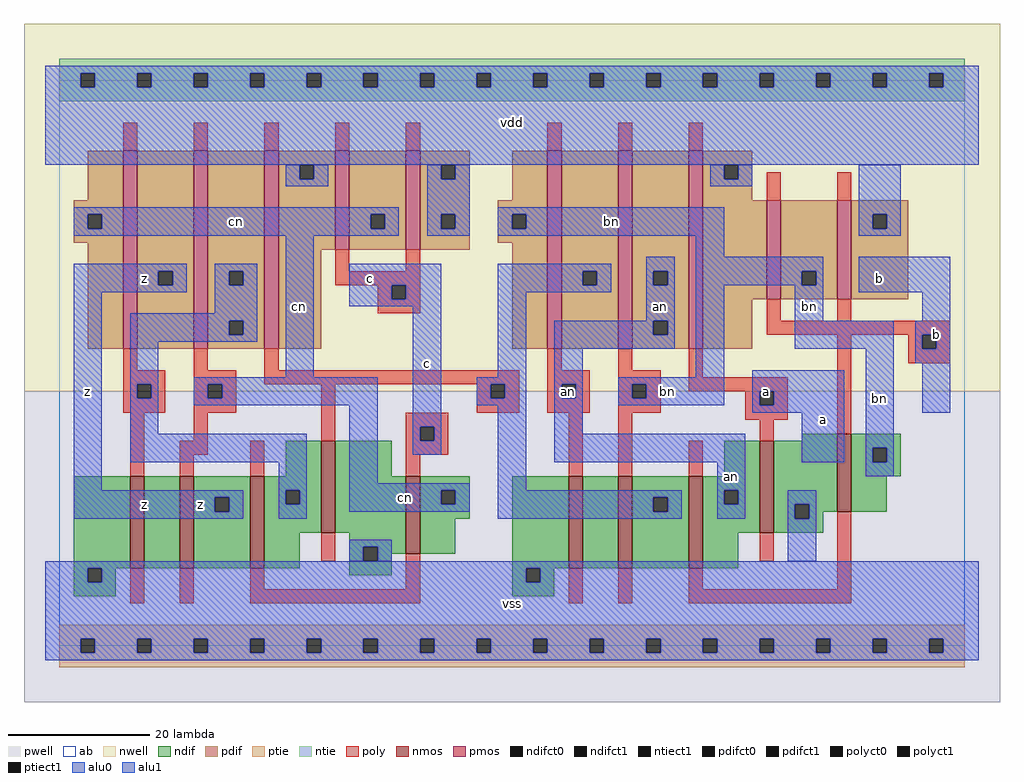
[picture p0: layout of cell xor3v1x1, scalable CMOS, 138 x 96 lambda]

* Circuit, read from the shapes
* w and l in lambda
.subckt xor3v1x1 a an b bn c cn vdd vss z
M1 n1 n2 vss vss nfet w=13 l=2
M2 z cn n1 vss nfet w=13 l=2
M3 n2 c z vss nfet w=13 l=2
M4 vss n3 n2 vss nfet w=13 l=2
M5 cn c vss vss nfet w=11 l=2
M6 n4 an vss vss nfet w=13 l=2
M7 n3 bn n4 vss nfet w=13 l=2
M8 an b n3 vss nfet w=13 l=2
M9 vss a an vss nfet w=13 l=2
M10 bn b vss vss nfet w=11 l=2
M11 z n2 cn vdd pfet w=28 l=2
M12 n2 cn z vdd pfet w=28 l=2
M13 vdd n3 n2 vdd pfet w=28 l=2
M14 cn c vdd vdd pfet w=14 l=2 m=2
M15 n3 an bn vdd pfet w=28 l=2
M16 an bn n3 vdd pfet w=28 l=2
M17 vdd a an vdd pfet w=28 l=2
M18 bn b vdd vdd pfet w=14 l=2 m=2
.ends

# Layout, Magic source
magic
tech scmos
<< ab >>
rect 0 0 128 80
<< nwell >>
rect -5 36 133 88
<< pwell >>
rect -5 -8 133 36
<< poly >>
rect 9 70 11 74
rect 19 70 21 74
rect 29 70 31 74
rect 39 70 41 74
rect 49 70 51 74
rect 69 70 71 74
rect 79 70 81 74
rect 89 70 91 74
rect 39 53 41 56
rect 49 53 51 56
rect 39 51 51 53
rect 45 49 47 51
rect 49 49 51 51
rect 45 47 51 49
rect 100 63 102 67
rect 110 63 112 67
rect 100 46 102 49
rect 110 46 112 49
rect 100 44 126 46
rect 9 39 11 42
rect 19 39 21 42
rect 29 39 31 42
rect 69 39 71 42
rect 79 39 81 42
rect 9 37 15 39
rect 9 35 11 37
rect 13 35 15 37
rect 9 33 15 35
rect 19 37 25 39
rect 29 37 65 39
rect 19 35 21 37
rect 23 35 25 37
rect 19 33 25 35
rect 10 24 12 33
rect 19 29 21 33
rect 37 29 39 37
rect 59 35 61 37
rect 63 35 65 37
rect 59 33 65 35
rect 69 37 75 39
rect 69 35 71 37
rect 73 35 75 37
rect 69 33 75 35
rect 79 37 85 39
rect 79 35 81 37
rect 83 35 85 37
rect 89 38 91 42
rect 89 36 103 38
rect 79 33 85 35
rect 97 34 99 36
rect 101 34 103 36
rect 49 31 55 33
rect 49 29 51 31
rect 53 29 55 31
rect 17 27 21 29
rect 17 24 19 27
rect 27 24 29 29
rect 49 27 55 29
rect 49 24 51 27
rect 72 24 74 33
rect 79 24 81 33
rect 97 32 103 34
rect 99 29 101 32
rect 110 30 112 44
rect 120 42 122 44
rect 124 42 126 44
rect 120 40 126 42
rect 89 24 91 29
rect 37 12 39 16
rect 10 6 12 11
rect 17 6 19 11
rect 27 8 29 11
rect 49 8 51 13
rect 27 6 51 8
rect 99 12 101 16
rect 72 6 74 11
rect 79 6 81 11
rect 89 8 91 11
rect 110 8 112 19
rect 89 6 112 8
<< ndif >>
rect 32 24 37 29
rect 2 11 10 24
rect 12 11 17 24
rect 19 21 27 24
rect 19 19 22 21
rect 24 19 27 21
rect 19 11 27 19
rect 29 22 37 24
rect 29 20 32 22
rect 34 20 37 22
rect 29 16 37 20
rect 39 24 47 29
rect 105 29 110 30
rect 94 24 99 29
rect 39 16 49 24
rect 29 11 34 16
rect 41 14 49 16
rect 41 12 43 14
rect 45 13 49 14
rect 51 22 58 24
rect 51 20 54 22
rect 56 20 58 22
rect 51 18 58 20
rect 51 13 56 18
rect 45 12 47 13
rect 2 9 4 11
rect 6 9 8 11
rect 2 7 8 9
rect 41 10 47 12
rect 64 11 72 24
rect 74 11 79 24
rect 81 21 89 24
rect 81 19 84 21
rect 86 19 89 21
rect 81 11 89 19
rect 91 22 99 24
rect 91 20 94 22
rect 96 20 99 22
rect 91 16 99 20
rect 101 20 110 29
rect 101 18 104 20
rect 106 19 110 20
rect 112 28 119 30
rect 112 26 115 28
rect 117 26 119 28
rect 112 24 119 26
rect 112 19 117 24
rect 106 18 108 19
rect 101 16 108 18
rect 91 11 96 16
rect 64 9 66 11
rect 68 9 70 11
rect 64 7 70 9
<< pdif >>
rect 4 63 9 70
rect 2 61 9 63
rect 2 59 4 61
rect 6 59 9 61
rect 2 57 9 59
rect 4 42 9 57
rect 11 53 19 70
rect 11 51 14 53
rect 16 51 19 53
rect 11 42 19 51
rect 21 53 29 70
rect 21 51 24 53
rect 26 51 29 53
rect 21 46 29 51
rect 21 44 24 46
rect 26 44 29 46
rect 21 42 29 44
rect 31 68 39 70
rect 31 66 34 68
rect 36 66 39 68
rect 31 56 39 66
rect 41 61 49 70
rect 41 59 44 61
rect 46 59 49 61
rect 41 56 49 59
rect 51 68 58 70
rect 51 66 54 68
rect 56 66 58 68
rect 51 61 58 66
rect 64 63 69 70
rect 51 59 54 61
rect 56 59 58 61
rect 51 56 58 59
rect 62 61 69 63
rect 62 59 64 61
rect 66 59 69 61
rect 62 57 69 59
rect 31 42 37 56
rect 64 42 69 57
rect 71 53 79 70
rect 71 51 74 53
rect 76 51 79 53
rect 71 42 79 51
rect 81 53 89 70
rect 81 51 84 53
rect 86 51 89 53
rect 81 46 89 51
rect 81 44 84 46
rect 86 44 89 46
rect 81 42 89 44
rect 91 68 98 70
rect 91 66 94 68
rect 96 66 98 68
rect 91 63 98 66
rect 91 49 100 63
rect 102 53 110 63
rect 102 51 105 53
rect 107 51 110 53
rect 102 49 110 51
rect 112 61 120 63
rect 112 59 115 61
rect 117 59 120 61
rect 112 49 120 59
rect 91 42 98 49
<< alu1 >>
rect -2 81 130 82
rect -2 79 3 81
rect 5 79 11 81
rect 13 79 19 81
rect 21 79 27 81
rect 29 79 35 81
rect 37 79 43 81
rect 45 79 51 81
rect 53 79 59 81
rect 61 79 67 81
rect 69 79 75 81
rect 77 79 83 81
rect 85 79 91 81
rect 93 79 99 81
rect 101 79 107 81
rect 109 79 115 81
rect 117 79 123 81
rect 125 79 130 81
rect -2 68 130 79
rect 2 53 18 54
rect 2 51 14 53
rect 16 51 18 53
rect 2 50 18 51
rect 2 22 6 50
rect 41 51 54 54
rect 41 49 47 51
rect 49 49 54 51
rect 41 48 54 49
rect 2 21 26 22
rect 2 19 22 21
rect 24 19 26 21
rect 2 18 26 19
rect 50 31 54 48
rect 50 29 51 31
rect 53 29 54 31
rect 50 27 54 29
rect 113 50 126 55
rect 122 46 126 50
rect 98 36 111 39
rect 98 34 99 36
rect 101 34 111 36
rect 98 33 111 34
rect 105 26 111 33
rect 121 44 126 46
rect 121 42 122 44
rect 124 42 126 44
rect 121 40 126 42
rect 122 33 126 40
rect -2 11 130 12
rect -2 9 4 11
rect 6 9 66 11
rect 68 9 130 11
rect -2 1 130 9
rect -2 -1 3 1
rect 5 -1 11 1
rect 13 -1 19 1
rect 21 -1 27 1
rect 29 -1 35 1
rect 37 -1 43 1
rect 45 -1 51 1
rect 53 -1 59 1
rect 61 -1 67 1
rect 69 -1 75 1
rect 77 -1 83 1
rect 85 -1 91 1
rect 93 -1 99 1
rect 101 -1 107 1
rect 109 -1 115 1
rect 117 -1 123 1
rect 125 -1 130 1
rect -2 -2 130 -1
<< ptie >>
rect 0 1 128 3
rect 0 -1 3 1
rect 5 -1 11 1
rect 13 -1 19 1
rect 21 -1 27 1
rect 29 -1 35 1
rect 37 -1 43 1
rect 45 -1 51 1
rect 53 -1 59 1
rect 61 -1 67 1
rect 69 -1 75 1
rect 77 -1 83 1
rect 85 -1 91 1
rect 93 -1 99 1
rect 101 -1 107 1
rect 109 -1 115 1
rect 117 -1 123 1
rect 125 -1 128 1
rect 0 -3 128 -1
<< ntie >>
rect 0 81 128 83
rect 0 79 3 81
rect 5 79 11 81
rect 13 79 19 81
rect 21 79 27 81
rect 29 79 35 81
rect 37 79 43 81
rect 45 79 51 81
rect 53 79 59 81
rect 61 79 67 81
rect 69 79 75 81
rect 77 79 83 81
rect 85 79 91 81
rect 93 79 99 81
rect 101 79 107 81
rect 109 79 115 81
rect 117 79 123 81
rect 125 79 128 81
rect 0 77 128 79
<< nmos >>
rect 10 11 12 24
rect 17 11 19 24
rect 27 11 29 24
rect 37 16 39 29
rect 49 13 51 24
rect 72 11 74 24
rect 79 11 81 24
rect 89 11 91 24
rect 99 16 101 29
rect 110 19 112 30
<< pmos >>
rect 9 42 11 70
rect 19 42 21 70
rect 29 42 31 70
rect 39 56 41 70
rect 49 56 51 70
rect 69 42 71 70
rect 79 42 81 70
rect 89 42 91 70
rect 100 49 102 63
rect 110 49 112 63
<< polyct0 >>
rect 11 35 13 37
rect 21 35 23 37
rect 61 35 63 37
rect 71 35 73 37
rect 81 35 83 37
<< polyct1 >>
rect 47 49 49 51
rect 99 34 101 36
rect 51 29 53 31
rect 122 42 124 44
<< ndifct0 >>
rect 32 20 34 22
rect 43 12 45 14
rect 54 20 56 22
rect 84 19 86 21
rect 94 20 96 22
rect 104 18 106 20
rect 115 26 117 28
<< ndifct1 >>
rect 22 19 24 21
rect 4 9 6 11
rect 66 9 68 11
<< ntiect1 >>
rect 3 79 5 81
rect 11 79 13 81
rect 19 79 21 81
rect 27 79 29 81
rect 35 79 37 81
rect 43 79 45 81
rect 51 79 53 81
rect 59 79 61 81
rect 67 79 69 81
rect 75 79 77 81
rect 83 79 85 81
rect 91 79 93 81
rect 99 79 101 81
rect 107 79 109 81
rect 115 79 117 81
rect 123 79 125 81
<< ptiect1 >>
rect 3 -1 5 1
rect 11 -1 13 1
rect 19 -1 21 1
rect 27 -1 29 1
rect 35 -1 37 1
rect 43 -1 45 1
rect 51 -1 53 1
rect 59 -1 61 1
rect 67 -1 69 1
rect 75 -1 77 1
rect 83 -1 85 1
rect 91 -1 93 1
rect 99 -1 101 1
rect 107 -1 109 1
rect 115 -1 117 1
rect 123 -1 125 1
<< pdifct0 >>
rect 4 59 6 61
rect 24 51 26 53
rect 24 44 26 46
rect 34 66 36 68
rect 44 59 46 61
rect 54 66 56 68
rect 54 59 56 61
rect 64 59 66 61
rect 74 51 76 53
rect 84 51 86 53
rect 84 44 86 46
rect 94 66 96 68
rect 105 51 107 53
rect 115 59 117 61
<< pdifct1 >>
rect 14 51 16 53
<< alu0 >>
rect 32 66 34 68
rect 36 66 38 68
rect 32 65 38 66
rect 52 66 54 68
rect 56 66 58 68
rect 2 61 48 62
rect 2 59 4 61
rect 6 59 44 61
rect 46 59 48 61
rect 2 58 48 59
rect 52 61 58 66
rect 92 66 94 68
rect 96 66 98 68
rect 92 65 98 66
rect 52 59 54 61
rect 56 59 58 61
rect 52 58 58 59
rect 62 61 94 62
rect 62 59 64 61
rect 66 59 94 61
rect 62 58 94 59
rect 113 61 119 68
rect 113 59 115 61
rect 117 59 119 61
rect 113 58 119 59
rect 22 53 28 54
rect 22 51 24 53
rect 26 51 28 53
rect 22 47 28 51
rect 10 46 28 47
rect 10 44 24 46
rect 26 44 28 46
rect 10 43 28 44
rect 10 37 14 43
rect 32 38 36 58
rect 90 55 94 58
rect 10 35 11 37
rect 13 35 14 37
rect 10 30 14 35
rect 19 37 45 38
rect 19 35 21 37
rect 23 35 45 37
rect 19 34 45 35
rect 10 26 35 30
rect 31 22 35 26
rect 31 20 32 22
rect 34 20 35 22
rect 31 18 35 20
rect 41 23 45 34
rect 62 53 78 54
rect 62 51 74 53
rect 76 51 78 53
rect 62 50 78 51
rect 83 53 87 55
rect 83 51 84 53
rect 86 51 87 53
rect 62 38 66 50
rect 83 46 87 51
rect 59 37 66 38
rect 59 35 61 37
rect 63 35 66 37
rect 59 34 66 35
rect 41 22 58 23
rect 41 20 54 22
rect 56 20 58 22
rect 41 19 58 20
rect 62 22 66 34
rect 70 44 84 46
rect 86 44 87 46
rect 70 42 87 44
rect 90 53 108 55
rect 90 51 105 53
rect 107 51 108 53
rect 70 37 74 42
rect 90 38 94 51
rect 104 46 108 51
rect 104 42 118 46
rect 70 35 71 37
rect 73 35 74 37
rect 70 30 74 35
rect 79 37 94 38
rect 79 35 81 37
rect 83 35 94 37
rect 79 34 94 35
rect 70 26 97 30
rect 114 28 118 42
rect 114 26 115 28
rect 117 26 118 28
rect 93 22 97 26
rect 114 24 118 26
rect 62 21 88 22
rect 62 19 84 21
rect 86 19 88 21
rect 62 18 88 19
rect 93 20 94 22
rect 96 20 97 22
rect 93 18 97 20
rect 103 20 107 22
rect 103 18 104 20
rect 106 18 107 20
rect 41 14 47 15
rect 41 12 43 14
rect 45 12 47 14
rect 103 12 107 18
<< labels >>
rlabel alu0 34 48 34 48 6 cn
rlabel alu0 25 60 25 60 6 cn
rlabel alu0 49 21 49 21 6 cn
rlabel polyct0 72 36 72 36 6 an
rlabel alu0 95 24 95 24 6 an
rlabel alu0 86 36 86 36 6 bn
rlabel alu0 85 48 85 48 6 an
rlabel alu0 78 60 78 60 6 bn
rlabel alu0 116 35 116 35 6 bn
rlabel alu0 106 48 106 48 6 bn
rlabel alu1 20 20 20 20 6 z
rlabel alu1 12 20 12 20 6 z
rlabel alu1 4 36 4 36 6 z
rlabel alu1 12 52 12 52 6 z
rlabel alu1 52 40 52 40 6 c
rlabel alu1 44 52 44 52 6 c
rlabel alu1 64 6 64 6 6 vss
rlabel alu1 64 74 64 74 6 vdd
rlabel alu1 100 36 100 36 6 a
rlabel alu1 108 32 108 32 6 a
rlabel alu1 124 44 124 44 6 b
rlabel alu1 116 52 116 52 6 b
<< end >>
